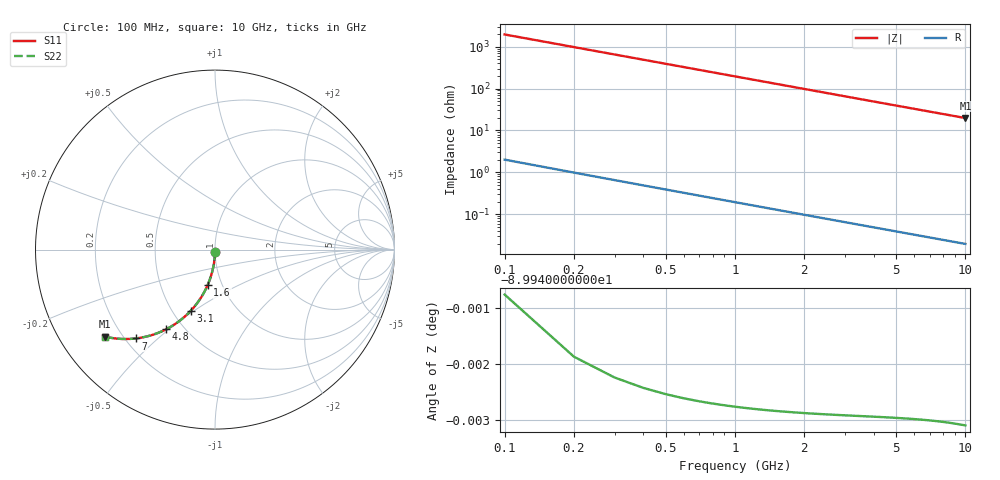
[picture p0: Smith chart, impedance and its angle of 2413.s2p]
# Hz S RI R 50.00
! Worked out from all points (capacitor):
!   100 points, 100 MHz to 10 GHz, reference 50 ohm
!   read as one part in shunt: C = 817 fF near 100 MHz
!   lowest |Z| = 19.8 ohm at 10 GHz (marker M1)
!   S11 on the Smith chart (normalised r, x): 100 MHz: 1.00, -0.03; 1.6 GHz: 0.86, -0.35; 3.1 GHz: 0.61, -0.49; 4.8 GHz: 0.40, -0.49; 7 GHz: 0.24, -0.43; 10 GHz: 0.14, -0.34
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1e8  -0.000174 -0.0128  0.9998 -0.0128  0.9998 -0.0128  -0.000174 -0.0128
2e8  -0.00068 -0.0256  0.9993 -0.0257  0.9993 -0.0257  -0.00068 -0.0256
3e8  -0.00151 -0.0384  0.9985 -0.0385  0.9985 -0.0385  -0.00151 -0.0384
4e8  -0.00267 -0.0511  0.9973 -0.0512  0.9973 -0.0512  -0.00267 -0.0511
5e8  -0.00416 -0.0638  0.9958 -0.0639  0.9958 -0.0639  -0.00416 -0.0638
6e8  -0.00596 -0.0764  0.994 -0.0766  0.994 -0.0766  -0.00596 -0.0764
7e8  -0.00808 -0.0889  0.9919 -0.0891  0.9919 -0.0891  -0.00808 -0.0889
9e8  -0.0132 -0.1137  0.9867 -0.114  0.9867 -0.114  -0.0132 -0.1137
1.2e9  -0.0232 -0.15  0.9768 -0.1504  0.9768 -0.1504  -0.0232 -0.15
1.6e9  -0.0405 -0.1963  0.9595 -0.1968  0.9595 -0.1968  -0.0405 -0.1963
1.8e9  -0.0506 -0.2184  0.9494 -0.219  0.9494 -0.219  -0.0506 -0.2184
2.4e9  -0.0863 -0.2799  0.9137 -0.2807  0.9137 -0.2807  -0.0863 -0.2799
3.1e9  -0.1357 -0.3415  0.8643 -0.3425  0.8643 -0.3425  -0.1357 -0.3415
3.4e9  -0.1587 -0.3643  0.8413 -0.3655  0.8413 -0.3655  -0.1587 -0.3643
4.1e9  -0.2148 -0.4095  0.7852 -0.4109  0.7852 -0.4109  -0.2148 -0.4095
4.8e9  -0.2721 -0.4437  0.7279 -0.4454  0.7279 -0.4454  -0.2721 -0.4437
5.1e9  -0.2966 -0.4554  0.7034 -0.4571  0.7034 -0.4571  -0.2966 -0.4554
5.9e9  -0.3601 -0.4785  0.6399 -0.4806  0.6399 -0.4806  -0.3601 -0.4785
6.7e9  -0.42 -0.4919  0.58 -0.4942  0.58 -0.4942  -0.42 -0.4919
7e9  -0.4413 -0.4948  0.5587 -0.4972  0.5587 -0.4972  -0.4413 -0.4948
8.4e9  -0.5313 -0.4971  0.4687 -0.5  0.4687 -0.5  -0.5313 -0.4971
1e10  -0.6156 -0.4842  0.3844 -0.4877  0.3844 -0.4877  -0.6156 -0.4842
